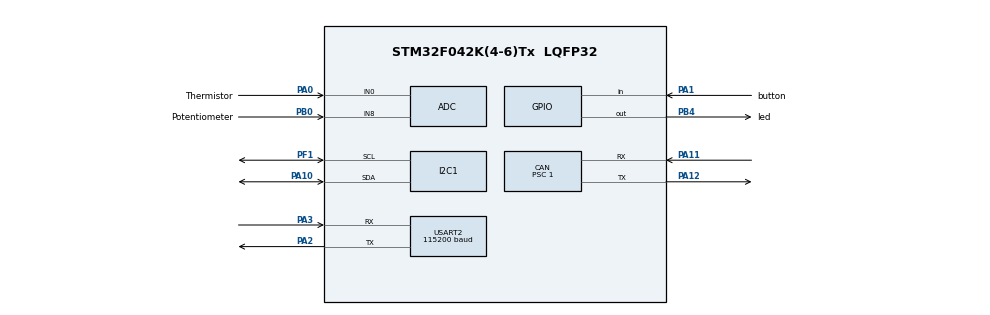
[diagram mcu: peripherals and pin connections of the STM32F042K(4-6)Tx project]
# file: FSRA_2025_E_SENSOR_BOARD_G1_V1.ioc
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ADC.ClockPrescaler=ADC_CLOCK_SYNC_PCLK_DIV2
ADC.ContinuousConvMode=DISABLE
CAN.ABOM=ENABLE
CAN.BS1=CAN_BS1_11TQ
CAN.BS2=CAN_BS2_4TQ
CAN.CalculateBaudRate=500000
CAN.CalculateTimeBit=2000
CAN.CalculateTimeQuantum=125.0
CAN.NART=DISABLE
CAN.Prescaler=1
CAN.SJW=CAN_SJW_1TQ
Dma.ADC.0.Direction=DMA_PERIPH_TO_MEMORY
Dma.ADC.0.Instance=DMA1_Channel1
Dma.ADC.0.MemDataAlignment=DMA_MDATAALIGN_HALFWORD
Dma.ADC.0.MemInc=DMA_MINC_ENABLE
Dma.ADC.0.Mode=DMA_NORMAL
Dma.ADC.0.PeriphDataAlignment=DMA_PDATAALIGN_HALFWORD
Dma.ADC.0.PeriphInc=DMA_PINC_DISABLE
Dma.ADC.0.Priority=DMA_PRIORITY_LOW
Dma.Request0=ADC
I2C1.Timing=0x00201D2B
Mcu.Family=STM32F0
Mcu.Name=STM32F042K(4-6)Tx
Mcu.Package=LQFP32
NVIC.DMA1_Channel1_IRQn=true\:0\:0\:false\:false\:true\:false\:true\:true
PA0.GPIO_Label=Thermistor
PA0.Mode=IN0
PA0.Signal=ADC_IN0
PA1.GPIO_Label=button
PA1.Signal=GPIO_Input
PA10.Mode=I2C
PA10.Signal=I2C1_SDA
PA11.GPIO_PuPd=GPIO_PULLUP
PA11.Mode=CAN_Activate
PA11.Signal=CAN_RX
PA12.Mode=CAN_Activate
PA12.Signal=CAN_TX
PA13.GPIO_Label=SWDIO
PA13.Mode=Serial_Wire
PA13.Signal=SYS_SWDIO
PA14.GPIO_Label=SWCLK
PA14.Mode=Serial_Wire
PA14.Signal=SYS_SWCLK
PA2.Mode=Asynchronous
PA2.Signal=USART2_TX
PA3.Mode=Asynchronous
PA3.Signal=USART2_RX
PB0.GPIO_Label=Potentiometer
PB0.Mode=IN8
PB0.Signal=ADC_IN8
PB4.GPIO_Label=led
PB4.Signal=GPIO_Output
PF0-OSC_IN.GPIO_Label=MCO
PF0-OSC_IN.Mode=HSE-External-Clock-Source
PF0-OSC_IN.Signal=RCC_OSC_IN
PF1-OSC_OUT.Mode=I2C
PF1-OSC_OUT.Signal=I2C1_SCL
ProjectManager.HeapSize=0x200
ProjectManager.StackSize=0x400
ProjectManager.TargetToolchain=STM32CubeIDE
USART2.BaudRate=115200
USART2.VirtualMode-Asynchronous=VM_ASYNC
board=NUCLEO-F042K6

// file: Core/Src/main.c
/* USER CODE BEGIN Header */
/**
  ******************************************************************************
  * @file           : main.c
  * @brief          : Main program body
  ******************************************************************************
  * @attention
  *
  * Copyright (c) 2024 STMicroelectronics.
  * All rights reserved.
  *
  * This software is licensed under terms that can be found in the LICENSE file
  * in the root directory of this software component.
  * If no LICENSE file comes with this software, it is provided AS-IS.
  *
  ******************************************************************************
  */
/* USER CODE END Header */
#include "main.h"

ADC_HandleTypeDef hadc;
DMA_HandleTypeDef hdma_adc;

CAN_HandleTypeDef hcan;

I2C_HandleTypeDef hi2c1;

UART_HandleTypeDef huart2;

/* USER CODE BEGIN PV */

// private variables
// for UART
static char buffer[200]; // Declare buffer globally for UART messages

// for ADC readings
volatile uint16_t adcResultsDMA[2];
const int adcChannelCount = sizeof(adcResultsDMA) / sizeof(adcResultsDMA[0]);		// nice way of writing number of ADC channels
volatile int adcConversionComplete = 0;			// set by callback

// Accelerometer_lsm303dlhc constants

// control registers
static const uint8_t CTRL_REG1_A   	 = 0x20;
static const uint8_t CTRL_REG2_A     = 0x21;
static const uint8_t CTRL_REG3_A     = 0x22;
static const uint8_t CTRL_REG4_A     = 0x23;
static const uint8_t CTRL_REG5_A     = 0x24;
static const uint8_t CTRL_REG6_A     = 0x25;

static const uint8_t ODR_400Hz       = 0b0111 << 4;	// 400Hz
static const uint8_t LPen      		 = 0b0001 << 3;	// Low Power
static const uint8_t Zen       		 = 0b0001 << 2;	// activates sensor for z axis
static const uint8_t Yen       		 = 0b0001 << 1;
static const uint8_t Xen       		 = 0b0001 << 0;
static const uint8_t BDU       		 = 0b01 << 7;		// (Block Data Update) - locks data until it is read
static const uint8_t FS_2G     		 = 0b00 << 4;  // +-2g
static const uint8_t FS_4G      	 = 0b01 << 4;  // +-4g
static const uint8_t FS_8G       	 = 0b10 << 4;  // +-8g
static const uint8_t FS_16G    		 = 0b11 << 4;  // +-16g
static const uint8_t HR        		 = 0b01 << 3;		// HR (High Resolution)
static const uint8_t OUT_X_L_A 		 = 0x28;	// base register - lower byte of X

// I2C addresses
static const uint8_t LA_ADDRESS= 0x32;	// i2c address of accelerometer
// I2C READING
uint8_t i2cData[6]; 		// Buffer for 6 8-bit registers

/* USER CODE END PV */

void SystemClock_Config(void);
static void MX_GPIO_Init(void);
static void MX_DMA_Init(void);
static void MX_USART2_UART_Init(void);
static void MX_ADC_Init(void);
static void MX_I2C1_Init(void);
static void MX_CAN_Init(void);

/* USER CODE BEGIN 0 */

void initPins()
{
	HAL_GPIO_WritePin(GPIOB, GPIO_PIN_4, GPIO_PIN_RESET);
}

int readPinState(GPIO_TypeDef *GPIOx, uint16_t GPIO_Pin)
{
    return HAL_GPIO_ReadPin(GPIOx, GPIO_Pin);
}

void writePinState(GPIO_TypeDef *GPIOx, uint16_t GPIO_Pin, GPIO_PinState value)
{
    HAL_GPIO_WritePin(GPIOx, GPIO_Pin, value);
}

void toggleLED()
{
	HAL_GPIO_TogglePin(GPIOB, GPIO_PIN_4);
	HAL_Delay(500);
}

void activateLEDusingButton()
{
	if (readPinState(GPIOA, GPIO_PIN_1) == 1)
	{
		writePinState(GPIOB, GPIO_PIN_4, GPIO_PIN_SET);
	} else
	{
		writePinState(GPIOB, GPIO_PIN_4, GPIO_PIN_RESET);
	}
}

// for reading multiple ADC channels, need to use DMA

// override function to set adcConversionComplete flag and end conversion
// _weak means that it can be overwritten
void HAL_ADC_ConvCpltCallback(ADC_HandleTypeDef* hadc)
{
	adcConversionComplete = 1;
}

// In DMA settings - Memory checked -> increment memory on every writing
void potentiometer(uint16_t adcValue)
{
	// resolution is 12 bit, so we need 16 bits
	HAL_ADC_Start(&hadc);		//starts  ADS on STM

	if (HAL_ADC_PollForConversion(&hadc, 20) == HAL_OK)
	{		// wait until conversion is over
		uint16_t n = HAL_ADC_GetValue(&hadc);		// receiving 12 bits, so we use 16 bits
		// Convert to string and print
		sprintf((char*)buffer,"ADC Value: %hu\n", n);
		HAL_UART_Transmit(&huart2, buffer, strlen(buffer), HAL_MAX_DELAY);
	}
	HAL_Delay(500);
	HAL_ADC_Stop(&hadc);
}

float thermistor(uint16_t adcValue)
{
	float raw = (float) adcValue;
	raw = (raw / 4095.0) * 3.3;
	float Rt = 10000.0 * raw / (3.3 - raw);
	float beta = 4300.0;
	float R0 = 8000.0;
	float T0 = 298.15;	// T0 in Kelvin (25°C)

	float temp = beta / (log(Rt/R0) + beta/T0);
    float t = (temp - 273.15);

    return t;
}

void readMultipleADC()
{
	// hadc is adc converter
	HAL_ADC_Start_DMA(&hadc, (uint32_t) adcResultsDMA, adcChannelCount);

	// adcConversionComplete will be set in HAL_ADC_ConvCpltCallback(ADC_HandleTypeDef* hadc) function, that we are going to override

	while (adcConversionComplete == 0) {}

	adcConversionComplete = 0; 	// to be ready for next conversion

	// potentiometer -> pin D3
	// thermistor -> pin A0

	float temp = thermistor(adcResultsDMA[0]);		// thermistor has bigger priority (smaller pin value)
	sprintf((char*)buffer,"Temperature: %.2f, Potentiometer: %hu\n", temp, adcResultsDMA[1]);
	HAL_UART_Transmit(&huart2, buffer, strlen(buffer), HAL_MAX_DELAY);
	HAL_Delay(100);
}

// linear acceleration
//for Compass click - Mikroelektronika
// https://github.com/z49x2vmq/lsm303/blob/master/lsm303dlhc.h
//https://z49x2vmq.github.io/2018/05/26/lsm303-stm32-hal/
void lsm303dlhc_init_la()
{

	// 2-dim array for initialization
	// 1 row: 8 bit register address, 8 bit value to write on that address
	// IMPORTANT - initialize other control registers to 0
    uint8_t init[6][2] =
    {
        {CTRL_REG1_A, ODR_400Hz | Xen | Yen | Zen},			// 400Hz,Low Power,Xen, Yen, Zen activates sensor for all 3 axes
		{CTRL_REG2_A, 0},
		{CTRL_REG3_A, 0},
        {CTRL_REG4_A, FS_4G | HR},								// BDU (Block Data Update) - locks data until it is read, FS_4G - acceleration in ±4g, HR (High Resolution)
		{CTRL_REG5_A, 0},
		{CTRL_REG6_A, 0}
    };

    //sends first row of init
    if (HAL_I2C_Master_Transmit(&hi2c1, LA_ADDRESS, init[0], 2, HAL_MAX_DELAY) != HAL_OK)	// 2 is number of bytes that will be sent
    {
    	 return;
    }
    //sends second row of init
    if (HAL_I2C_Master_Transmit(&hi2c1, LA_ADDRESS, init[1], 2, HAL_MAX_DELAY) != HAL_OK)
    {
    	return;
    }
    //sends third row of init
	if (HAL_I2C_Master_Transmit(&hi2c1, LA_ADDRESS, init[2], 2, HAL_MAX_DELAY) != HAL_OK)
	{
		return;
	}
    //sends fourth row of init
	if (HAL_I2C_Master_Transmit(&hi2c1, LA_ADDRESS, init[3], 2, HAL_MAX_DELAY) != HAL_OK)
	{
		return;
	}
	//sends fifth row of init
	if (HAL_I2C_Master_Transmit(&hi2c1, LA_ADDRESS, init[4], 2, HAL_MAX_DELAY) != HAL_OK)
	{
		return;
	}
}

/*
Linear Acceleration Representation
+-----------------+-----------------+-----------------+
|        X        |        Y        |        Z        |
+-----------------+-----------------+-----------------+
| buf[0] | buf[1] | buf[2] | buf[3] | buf[4] | buf[5] |
+--------+--------+--------+--------+--------+--------+
| X_LOW  | X_HIGH | Y_LOW  | Y_HIGH | Z_LOW  | Z_HIGH |
+--------+--------+--------+--------+--------+--------+
*/

uint8_t* lsm303dlhc_read_la()
{
    uint8_t reg = OUT_X_L_A | 0b10000000;		// register from which we read data
    // 0b10000000 - sets biggetst bit on 1 -> activates auto-increment on reading

    //we say that we want to read data from address in reg in the future
    if (HAL_I2C_Master_Transmit(&hi2c1, LA_ADDRESS, &reg, 1, 1000) != HAL_OK)		// 1000 is timeout
    {
        return;
    }

    // receive data -> all three axes
    if (HAL_I2C_Master_Receive(&hi2c1, LA_ADDRESS, i2cData, 6, 1000) != HAL_OK)
    {
        return;
    }

    // process data
    int16_t x = i2cData[1] << 8 | i2cData[0];
    int16_t y = i2cData[3] << 8 | i2cData[2];
    int16_t z = i2cData[5] << 8 | i2cData[4];

    sprintf(buffer, "Linear Accelerometer (raw data): X value: %06d, Y value: %06d, Z value: %06d\n", x, y, z);
    HAL_UART_Transmit(&huart2, buffer, strlen(buffer), HAL_MAX_DELAY);

    // Values:
	// when stanging ideal is x=0, y=0, z=8192 (2^13)
    // 16 represents raw value in range of ±4g
    // highest bit (15) is reserved for sign, and rest is value, so 2^13 is 1
	// ubrzanje u g je: a = sirova_vrednost/8192
	// ubrzanje u m/s2 je: a = g*9.81

    float x1 = x / 8192.0;
    x1 *= 9.81;
    float y1 = y / 8192.0;
	y1 *= 9.81;
	float z1 = z / 8192.0;
	z1 *= 9.81;

    sprintf(buffer, "Linear Accelerometer (in m/s^2): X value: %.2f, Y value: %.2f, Z value: %.2f\n\n", x1, y1, z1);
    HAL_UART_Transmit(&huart2, buffer, strlen(buffer), HAL_MAX_DELAY);
    HAL_Delay(200);

    uint8_t data[] = {(uint8_t)x1, (uint8_t)y1, (uint8_t)z1};

    return data;
}

// CAN KOMUNIKACIJA
CAN_TxHeaderTypeDef   TxHeader;
uint32_t              TxMailbox;

void CAN_Transmit(uint32_t id, uint8_t* data, uint8_t length)
{

	TxHeader.IDE = CAN_ID_STD;
	TxHeader.StdId = id;
	TxHeader.RTR = CAN_RTR_DATA;
	TxHeader.DLC = length;
	TxHeader.ExtId = 0;

    if (HAL_CAN_AddTxMessage(&hcan, &TxHeader, data, &TxMailbox) != HAL_OK)
    {
        sprintf(buffer, "CAN Transmit Error\n");
        HAL_UART_Transmit(&huart2, buffer, strlen(buffer), HAL_MAX_DELAY);
    }
    else
    {
        sprintf(buffer, "CAN Transmit Successful:\n ID = %hu, data[0] = %d, data[1] = %d, data[2] = %d\n", TxHeader.StdId, data[0], data[1], data[2]);
        HAL_UART_Transmit(&huart2, buffer, strlen(buffer), HAL_MAX_DELAY);
    }
}

/* USER CODE END 0 */

int main(void)
{

  /* MCU Configuration--------------------------------------------------------*/

  /* Reset of all peripherals, Initializes the Flash interface and the Systick. */
  HAL_Init();

  /* Configure the system clock */
  SystemClock_Config();

  /* Initialize all configured peripherals */
  MX_GPIO_Init();
  MX_DMA_Init();
  MX_USART2_UART_Init();
  MX_ADC_Init();
  MX_I2C1_Init();
  MX_CAN_Init();
  /* USER CODE BEGIN 2 */
  HAL_GPIO_WritePin(GPIOB, GPIO_PIN_4,GPIO_PIN_RESET);
  HAL_ADC_Start_IT (&hadc);
  /* USER CODE END 2 */

  /* Infinite loop */
  /* USER CODE BEGIN WHILE */

  initPins();

  //call only when Compass click is connected (when accelerometer is connected)
  //lsm303dlhc_init_la();

  HAL_CAN_Start(&hcan);
  HAL_CAN_ActivateNotification(&hcan, CAN_IT_RX_FIFO0_MSG_PENDING);

  uint8_t TxData[8] = {0x01, 0x02, 0x03, 0x04, 0x05, 0x06, 0x07, 0x08};

  while (1)
  {
    /* USER CODE END WHILE */

    /* USER CODE BEGIN 3 */

	  toggleLED();
	  //activateLEDusingButton();

	  // ADC READING - Potentiometer and Thermistor
	  //readMultipleADC();

	  // I2C reading of accelerometer
	  //lsm303dlhc_read_la();

	  //uint8_t* p = lsm303dlhc_read_la();

	  uint8_t data[] = {(uint8_t)1, (uint8_t)2, (uint8_t)3};
	  CAN_Transmit(0x123, TxData, 8);
//	  CAN_Transmit(0x123, &data, 1);
	  HAL_Delay(100);
  }
  /* USER CODE END 3 */
}

void SystemClock_Config(void)
{
  RCC_OscInitTypeDef RCC_OscInitStruct = {0};
  RCC_ClkInitTypeDef RCC_ClkInitStruct = {0};
  RCC_PeriphCLKInitTypeDef PeriphClkInit = {0};

  /** Initializes the RCC Oscillators according to the specified parameters
  * in the RCC_OscInitTypeDef structure.
  */
  RCC_OscInitStruct.OscillatorType = RCC_OSCILLATORTYPE_HSI;
  RCC_OscInitStruct.HSIState = RCC_HSI_ON;
  RCC_OscInitStruct.HSICalibrationValue = RCC_HSICALIBRATION_DEFAULT;
  RCC_OscInitStruct.PLL.PLLState = RCC_PLL_NONE;
  if (HAL_RCC_OscConfig(&RCC_OscInitStruct) != HAL_OK)
  {
    Error_Handler();
  }

  /** Initializes the CPU, AHB and APB buses clocks
  */
  RCC_ClkInitStruct.ClockType = RCC_CLOCKTYPE_HCLK|RCC_CLOCKTYPE_SYSCLK
                              |RCC_CLOCKTYPE_PCLK1;
  RCC_ClkInitStruct.SYSCLKSource = RCC_SYSCLKSOURCE_HSI;
  RCC_ClkInitStruct.AHBCLKDivider = RCC_SYSCLK_DIV1;
  RCC_ClkInitStruct.APB1CLKDivider = RCC_HCLK_DIV1;

  if (HAL_RCC_ClockConfig(&RCC_ClkInitStruct, FLASH_LATENCY_0) != HAL_OK)
  {
    Error_Handler();
  }
  PeriphClkInit.PeriphClockSelection = RCC_PERIPHCLK_I2C1;
  PeriphClkInit.I2c1ClockSelection = RCC_I2C1CLKSOURCE_HSI;
  if (HAL_RCCEx_PeriphCLKConfig(&PeriphClkInit) != HAL_OK)
  {
    Error_Handler();
  }
}

static void MX_ADC_Init(void)
{

  ADC_ChannelConfTypeDef sConfig = {0};

  /** Configure the global features of the ADC (Clock, Resolution, Data Alignment and number of conversion)
  */
  hadc.Instance = ADC1;
  hadc.Init.ClockPrescaler = ADC_CLOCK_SYNC_PCLK_DIV2;
  hadc.Init.Resolution = ADC_RESOLUTION_12B;
  hadc.Init.DataAlign = ADC_DATAALIGN_RIGHT;
  hadc.Init.ScanConvMode = ADC_SCAN_DIRECTION_FORWARD;
  hadc.Init.EOCSelection = ADC_EOC_SINGLE_CONV;
  hadc.Init.LowPowerAutoWait = DISABLE;
  hadc.Init.LowPowerAutoPowerOff = DISABLE;
  hadc.Init.ContinuousConvMode = DISABLE;
  hadc.Init.DiscontinuousConvMode = DISABLE;
  hadc.Init.ExternalTrigConv = ADC_SOFTWARE_START;
  hadc.Init.ExternalTrigConvEdge = ADC_EXTERNALTRIGCONVEDGE_NONE;
  hadc.Init.DMAContinuousRequests = DISABLE;
  hadc.Init.Overrun = ADC_OVR_DATA_PRESERVED;
  if (HAL_ADC_Init(&hadc) != HAL_OK)
  {
    Error_Handler();
  }

  /** Configure for the selected ADC regular channel to be converted.
  */
  sConfig.Channel = ADC_CHANNEL_0;
  sConfig.Rank = ADC_RANK_CHANNEL_NUMBER;
  sConfig.SamplingTime = ADC_SAMPLETIME_1CYCLE_5;
  if (HAL_ADC_ConfigChannel(&hadc, &sConfig) != HAL_OK)
  {
    Error_Handler();
  }

  /** Configure for the selected ADC regular channel to be converted.
  */
  sConfig.Channel = ADC_CHANNEL_8;
  if (HAL_ADC_ConfigChannel(&hadc, &sConfig) != HAL_OK)
  {
    Error_Handler();
  }

}

static void MX_CAN_Init(void)
{

  hcan.Instance = CAN;
  hcan.Init.Prescaler = 1;
  hcan.Init.Mode = CAN_MODE_NORMAL;
  hcan.Init.SyncJumpWidth = CAN_SJW_1TQ;
  hcan.Init.TimeSeg1 = CAN_BS1_11TQ;
  hcan.Init.TimeSeg2 = CAN_BS2_4TQ;
  hcan.Init.TimeTriggeredMode = DISABLE;
  hcan.Init.AutoBusOff = ENABLE;
  hcan.Init.AutoWakeUp = DISABLE;
  hcan.Init.AutoRetransmission = DISABLE;
  hcan.Init.ReceiveFifoLocked = DISABLE;
  hcan.Init.TransmitFifoPriority = DISABLE;
  if (HAL_CAN_Init(&hcan) != HAL_OK)
  {
    Error_Handler();
  }

}

static void MX_I2C1_Init(void)
{

  hi2c1.Instance = I2C1;
  hi2c1.Init.Timing = 0x00201D2B;
  hi2c1.Init.OwnAddress1 = 0;
  hi2c1.Init.AddressingMode = I2C_ADDRESSINGMODE_7BIT;
  hi2c1.Init.DualAddressMode = I2C_DUALADDRESS_DISABLE;
  hi2c1.Init.OwnAddress2 = 0;
  hi2c1.Init.OwnAddress2Masks = I2C_OA2_NOMASK;
  hi2c1.Init.GeneralCallMode = I2C_GENERALCALL_DISABLE;
  hi2c1.Init.NoStretchMode = I2C_NOSTRETCH_DISABLE;
  if (HAL_I2C_Init(&hi2c1) != HAL_OK)
  {
    Error_Handler();
  }

  /** Configure Analogue filter
  */
  if (HAL_I2CEx_ConfigAnalogFilter(&hi2c1, I2C_ANALOGFILTER_ENABLE) != HAL_OK)
  {
    Error_Handler();
  }

  /** Configure Digital filter
  */
  if (HAL_I2CEx_ConfigDigitalFilter(&hi2c1, 0) != HAL_OK)
  {
    Error_Handler();
  }

}

static void MX_USART2_UART_Init(void)
{

  huart2.Instance = USART2;
  huart2.Init.BaudRate = 115200;
  huart2.Init.WordLength = UART_WORDLENGTH_8B;
  huart2.Init.StopBits = UART_STOPBITS_1;
  huart2.Init.Parity = UART_PARITY_NONE;
  huart2.Init.Mode = UART_MODE_TX_RX;
  huart2.Init.HwFlowCtl = UART_HWCONTROL_NONE;
  huart2.Init.OverSampling = UART_OVERSAMPLING_16;
  huart2.Init.OneBitSampling = UART_ONE_BIT_SAMPLE_DISABLE;
  huart2.AdvancedInit.AdvFeatureInit = UART_ADVFEATURE_NO_INIT;
  if (HAL_UART_Init(&huart2) != HAL_OK)
  {
    Error_Handler();
  }

}

static void MX_DMA_Init(void)
{

  /* DMA controller clock enable */
  __HAL_RCC_DMA1_CLK_ENABLE();

  /* DMA interrupt init */
  /* DMA1_Channel1_IRQn interrupt configuration */
  HAL_NVIC_SetPriority(DMA1_Channel1_IRQn, 0, 0);
  HAL_NVIC_EnableIRQ(DMA1_Channel1_IRQn);

}

static void MX_GPIO_Init(void)
{
  GPIO_InitTypeDef GPIO_InitStruct = {0};

  /* GPIO Ports Clock Enable */
  __HAL_RCC_GPIOF_CLK_ENABLE();
  __HAL_RCC_GPIOA_CLK_ENABLE();
  __HAL_RCC_GPIOB_CLK_ENABLE();

  /*Configure GPIO pin Output Level */
  HAL_GPIO_WritePin(led_GPIO_Port, led_Pin, GPIO_PIN_RESET);

  /*Configure GPIO pin : button_Pin */
  GPIO_InitStruct.Pin = button_Pin;
  GPIO_InitStruct.Mode = GPIO_MODE_INPUT;
  GPIO_InitStruct.Pull = GPIO_NOPULL;
  HAL_GPIO_Init(button_GPIO_Port, &GPIO_InitStruct);

  /*Configure GPIO pin : led_Pin */
  GPIO_InitStruct.Pin = led_Pin;
  GPIO_InitStruct.Mode = GPIO_MODE_OUTPUT_PP;
  GPIO_InitStruct.Pull = GPIO_NOPULL;
  GPIO_InitStruct.Speed = GPIO_SPEED_FREQ_LOW;
  HAL_GPIO_Init(led_GPIO_Port, &GPIO_InitStruct);

}

void Error_Handler(void)
{
  __disable_irq();
  while (1)
  {
  }
}
